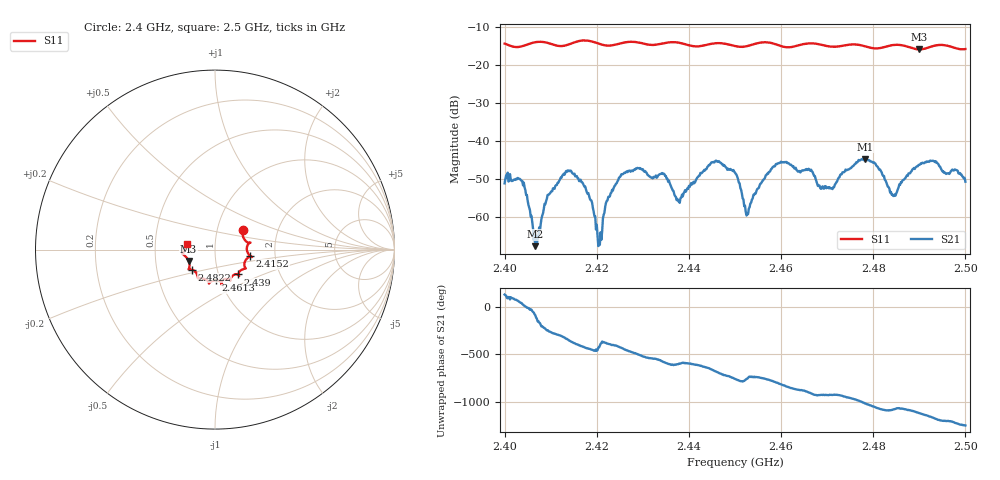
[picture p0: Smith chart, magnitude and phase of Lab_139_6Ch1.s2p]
# Hz S RI R 50
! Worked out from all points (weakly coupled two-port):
!   601 points, 2.4 GHz to 2.5 GHz, reference 50 ohm
!   highest |S21| = -44.73 dB at 2.4782 GHz (marker M1); lowest = -67.6 dB at 2.4067 GHz (marker M2)
!   lowest |S11| = -15.9 dB at 2.49 GHz (marker M3), VSWR 1.38, Z = 36.9 - j4.85 ohm
!   |S11| at or under -10 dB: start of sweep to end of sweep
!   S12 and S22 are empty: the file has one direction only
!   S11 on the Smith chart (normalised r, x): 2.4 GHz: 1.33, +0.31; 2.4152 GHz: 1.48, -0.11; 2.439 GHz: 1.24, -0.36; 2.4613 GHz: 0.96, -0.34; 2.4822 GHz: 0.76, -0.17; 2.5 GHz: 0.73, +0.05
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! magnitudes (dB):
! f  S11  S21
! 2.4 GHz  -14.4  -51.1
! 2.4038 GHz  -15.1  -50.5
! 2.4067 GHz  -14.0  -67.6
! 2.4097 GHz  -14.3  -54.0
! 2.4152 GHz  -14.1  -48.6
! 2.4167 GHz  -13.6  -50.8
! 2.4207 GHz  -14.5  -67.3
! 2.4223 GHz  -14.9  -55.6
! 2.4253 GHz  -14.3  -48.7
! 2.4333 GHz  -14.6  -49.0
! 2.439 GHz  -14.5  -53.4
! 2.4453 GHz  -14.4  -45.5
! 2.45 GHz  -15.0  -48.3
! 2.4527 GHz  -15.0  -59.2
! 2.4613 GHz  -15.4  -45.8
! 2.4667 GHz  -14.3  -47.9
! 2.471 GHz  -15.2  -52.4
! 2.4782 GHz  -15.1  -44.7
! 2.4822 GHz  -15.4  -49.2
! 2.4833 GHz  -15.0  -52.1
! 2.49 GHz  -15.9  -46.2
! 2.5 GHz  -15.8  -50.7
